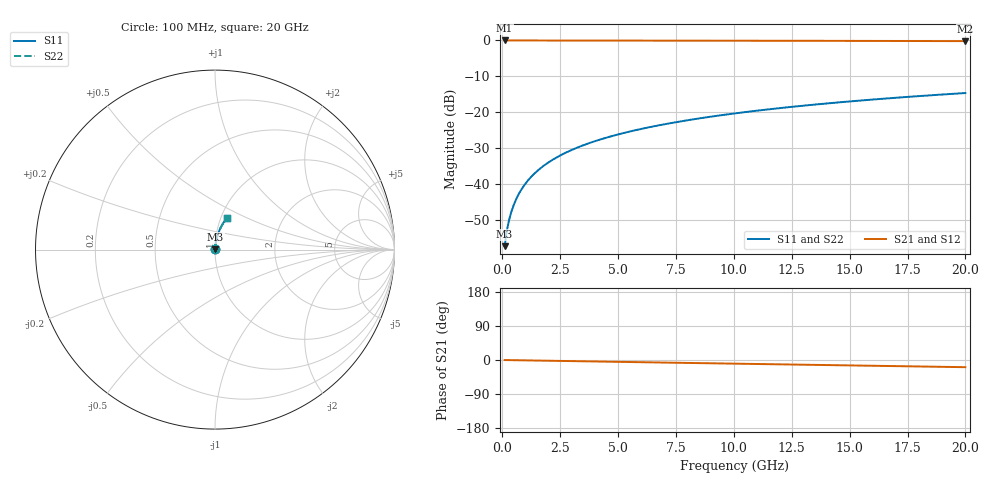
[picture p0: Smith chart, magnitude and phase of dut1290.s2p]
! Touchstone file exported from HFSS 2026.1.0
!  File:  C:/ffzhzh/LocalFiles/Ansys_Project_Files/temp_train_BSMRDL_1290_1783178006_22436.aedt
!  Generated:  11:14:38 PM Jul  4, 2026
!  Design:  BSMRDL
!  Project:  temp_train_BSMRDL_1290_1783178006_22436
! Variables:
!  h_bsmrdl = 5.29um
!  h_ox = 20um
!  h_rdl = 5um
!  h_sub = 80um
!  h_tmrdl = 5um
!  h_tsv = 80um
!  h_via = 3um
!  l_bsmrdl = 243.29um
!  l_sub = 643.29um
!  l_tmrdl = 200um
!  m_sub = 200um
!  pitch = 52.57um
!  r_tsv = 6um
!  s_tmrdl = 10um
!  w_bsmrdl = 23.87um
!  w_sub = 500um
!  w_tmrdl = 12um
!  x_tsv_center1 = 206um
!  x_tsv_center2 = 473.16um
!  x_tsv_center3 = 685.16um
!  x_tsv_center4 = 952.32um
!  x_tsv_center5 = 1164.32um
!  x_tsv_center6 = 1431.48um
# GHz S MA R 50.000000
! Terminal data exported
! Port[1] = BSM_RDL1_1_T1
! Port[2] = BSM_RDL1_1_T2
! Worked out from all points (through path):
!   200 points, 100 MHz to 20 GHz, reference 50 ohm
!   highest |S21| = -0.01 dB at 100 MHz (marker M1); lowest = -0.2 dB at 20 GHz (marker M2)
!   group delay of S21, straight-line fit = 2.63 ps
!   lowest |S11| = -57.3 dB at 100 MHz (marker M3), VSWR 1.00, Z = 50.1 + j0.108 ohm
!   |S11| at or under -10 dB: start of sweep to end of sweep
!   |S22| runs from -57.3 to -14.6 dB; largest |S21 - S12| = 7.3e-15
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0.1  0.001371 52.1  0.9992 -0.1  0.9992 -0.1  0.001371 52.1
! Gamma 0 0 0 0
! Port Impedance 50 0 50 0
0.2  0.002284 66.7  0.9991 -0.2  0.9991 -0.2  0.002284 66.7
0.3  0.003237 73.0  0.999 -0.3  0.999 -0.3  0.003237 73.0
0.4  0.004209 76.6  0.999 -0.4  0.999 -0.4  0.004209 76.6
0.5  0.005193 78.8  0.999 -0.5  0.999 -0.5  0.005193 78.8
0.7  0.007179 81.3  0.9989 -0.7  0.9989 -0.7  0.007179 81.3
0.8  0.008176 82.1  0.9989 -0.8  0.9989 -0.8  0.008176 82.1
1  0.01017 83.1  0.9988 -1.0  0.9988 -1.0  0.01017 83.1
1.2  0.01217 83.6  0.9988 -1.2  0.9988 -1.2  0.01217 83.6
1.4  0.01417 84.0  0.9987 -1.4  0.9987 -1.4  0.01417 84.0
1.7  0.01715 84.2  0.9986 -1.7  0.9986 -1.7  0.01715 84.2
2  0.02013 84.3  0.9985 -2.0  0.9985 -2.0  0.02013 84.3
2.7  0.02701 84.1  0.9981 -2.7  0.9981 -2.7  0.02701 84.1
3.5  0.0348 83.6  0.9976 -3.4  0.9976 -3.4  0.0348 83.6
4.2  0.04154 83.1  0.9971 -4.1  0.9971 -4.1  0.04154 83.1
5  0.0492 82.5  0.9965 -4.9  0.9965 -4.9  0.0492 82.5
6.8  0.06625 81.0  0.995 -6.6  0.995 -6.6  0.06625 81.0
8.3  0.08032 79.8  0.9937 -8.0  0.9937 -8.0  0.08032 79.8
10.1  0.09705 78.3  0.9919 -9.7  0.9919 -9.7  0.09705 78.3
13.4  0.1272 75.4  0.9879 -12.8  0.9879 -12.8  0.1272 75.4
16.7  0.1567 72.5  0.9833 -15.9  0.9833 -15.9  0.1567 72.5
20  0.1854 69.6  0.9779 -19.0  0.9779 -19.0  0.1854 69.6
